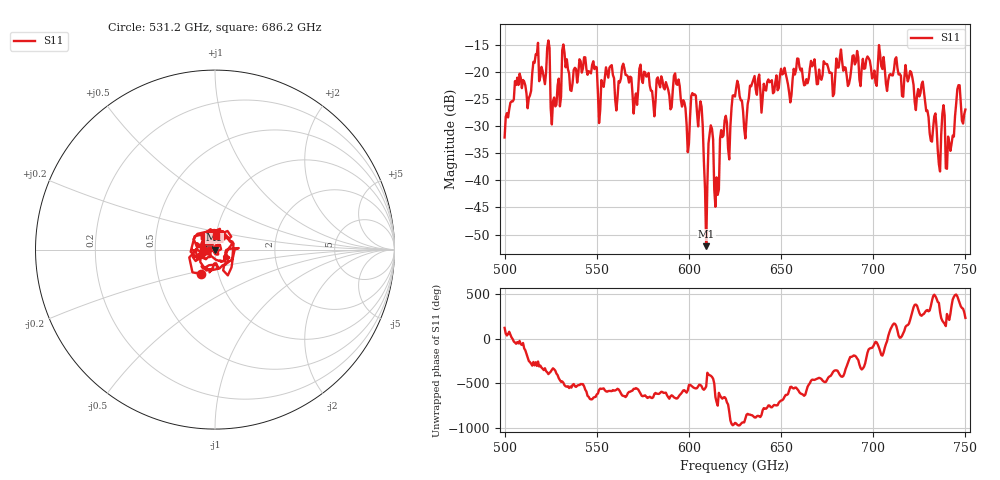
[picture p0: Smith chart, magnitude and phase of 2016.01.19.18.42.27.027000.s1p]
!Created with skrf (http://scikit-rf.org).
# GHz S RI R 50.0
!freq ReS11 ImS11
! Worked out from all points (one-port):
!   401 points, 500 GHz to 750 GHz, reference 50 ohm
!   lowest |S11| = -52.1 dB at 609.4 GHz (marker M1), VSWR 1.00, Z = 49.8 - j0.0138 ohm
!   |S11| at or under -10 dB: start of sweep to end of sweep
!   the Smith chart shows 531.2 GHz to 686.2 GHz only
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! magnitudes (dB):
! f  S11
! 500 GHz  -32.1
! 506.9 GHz  -21.1
! 513.1 GHz  -24.9
! 516.9 GHz  -16.8
! 523.1 GHz  -15.6
! 526.2 GHz  -25.4
! 531.2 GHz  -16.1
! 562.5 GHz  -22.0
! 593.8 GHz  -22.4
! 599.4 GHz  -34.8
! 602.5 GHz  -24.3
! 606.2 GHz  -25.5
! 609.4 GHz  -52.1
! 611.9 GHz  -29.9
! 615 GHz  -39.5
! 618.1 GHz  -32.0
! 621.9 GHz  -36.1
! 625 GHz  -24.6
! 630.6 GHz  -32.3
! 634.4 GHz  -22.0
! 656.2 GHz  -21.4
! 687.5 GHz  -21.1
! 718.8 GHz  -21.8
! 735.6 GHz  -37.0
! 738.1 GHz  -26.2
! 740.6 GHz  -31.9
! 746.2 GHz  -22.5
! 750 GHz  -27.0
